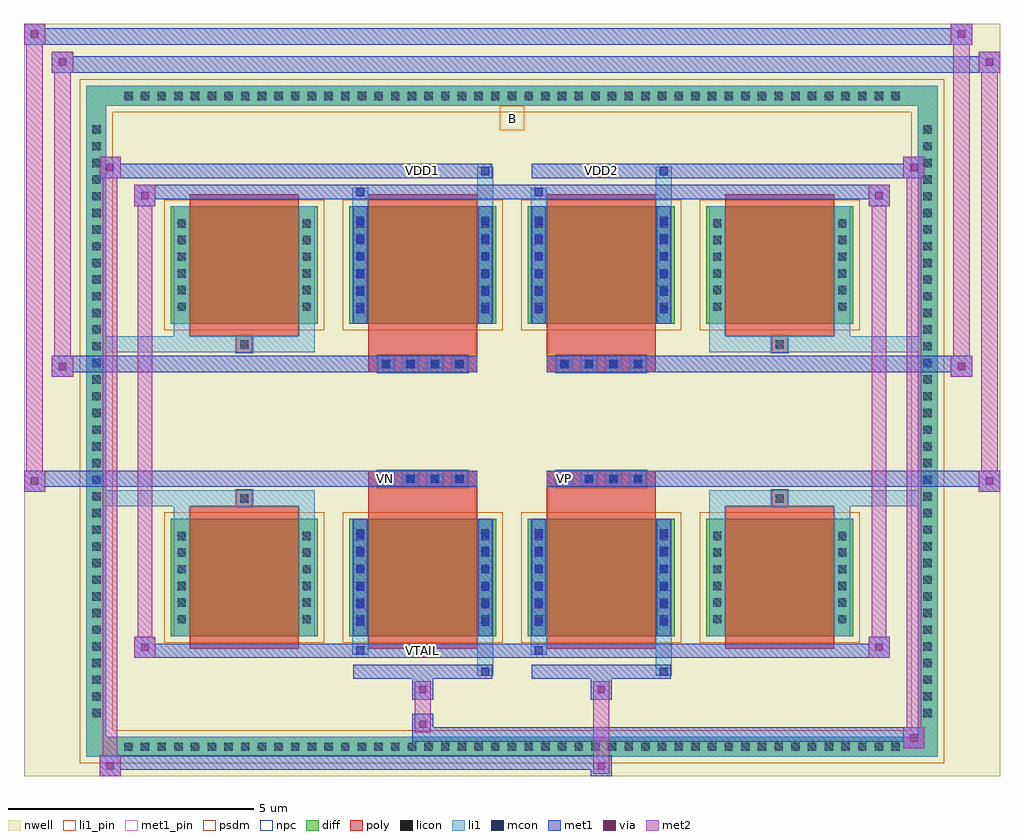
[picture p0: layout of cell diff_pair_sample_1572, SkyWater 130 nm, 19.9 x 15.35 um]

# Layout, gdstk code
import gdstk
lib = gdstk.Library(unit=1e-6, precision=5e-09)
def R(c, l, rs):  # rectangles x0, y0, x1, y1
    for r in rs: c.add(gdstk.rectangle(r[:2], r[2:], *l))
def A(c, l, x, y, w, h, nx, ny, dx, dy):  # array of equal rectangles
    R(c, l, [(x+i*dx, y+j*dy, x+i*dx+w, y+j*dy+h) for i in range(nx) for j in range(ny)])
def P(c, l, *ps):  # polygons
    for p in ps: c.add(gdstk.Polygon(p, *l))
nwell = (64, 20)
diff = (65, 20)
poly = (66, 20)
licon = (66, 44)
li1_pin = (67, 16)
li1 = (67, 20)
mcon = (67, 44)
met1_pin = (68, 16)
met1 = (68, 20)
via = (68, 44)
met2 = (69, 20)
psdm = (94, 20)
npc = (95, 20)

diff_pair_sample_1572 = lib.new_cell('diff_pair_sample_1572')
R(diff_pair_sample_1572, nwell, [(-9.95,-7.24,9.95,8.11), (-7.27,-5.43,-0.01,-0.805), (0.01,-5.43,7.27,-0.805), (-7.27,0.805,-0.01,5.43), (0.01,0.805,7.27,5.43)])
A(diff_pair_sample_1572, diff, -8.025, -6.84, 0.41, 0.41, 47, 2, 0.34, 13.27)
A(diff_pair_sample_1572, diff, -8.68, -6.155, 0.41, 0.41, 1, 36, 0, 0.34)
A(diff_pair_sample_1572, diff, 8.27, -6.155, 0.41, 0.41, 1, 36, 0, 0.34)
A(diff_pair_sample_1572, diff, -6.96, -4.385, 3, 2.4, 4, 2, 3.64, 6.37)
R(diff_pair_sample_1572, diff, [(-8.025,-6.84,8.025,-6.43), (-8.68,-6.155,-8.27,6.155), (8.27,-6.155,8.68,6.155), (-8.025,6.43,8.025,6.84)])
P(diff_pair_sample_1572, diff, [(8.68,6.84),(-8.68,6.84),(-8.68,-6.43),(-8.27,-6.43),(-8.27,6.43),(8.27,6.43),(8.27,-6.43),(-8.27,-6.43),(-8.68,-6.43),(-8.68,-6.84),(8.68,-6.84)])
A(diff_pair_sample_1572, poly, -6.57, -4.635, 2.22, 2.9, 4, 2, 3.64, 6.37)
A(diff_pair_sample_1572, poly, -2.735, -1.335, 0.33, 0.33, 4, 2, 0.5, 2.34)
A(diff_pair_sample_1572, poly, 0.905, -1.335, 0.33, 0.33, 4, 2, 0.5, 2.34)
R(diff_pair_sample_1572, poly, [(-5.625,-1.735,-5.295,-1.405), (-5.625,-1.735,-5.295,-1.405), (-2.93,-1.735,-0.71,-1.335), (0.71,-1.735,2.93,-1.335), (5.295,-1.735,5.625,-1.405), (5.295,-1.735,5.625,-1.405), (-2.93,-1.335,-0.71,-1.005), (0.71,-1.335,2.93,-1.005), (-2.93,1.005,-0.71,1.335), (0.71,1.005,2.93,1.335), (-2.93,1.335,-0.71,1.735), (0.71,1.335,2.93,1.735), (-5.625,1.405,-5.295,1.735), (-5.625,1.405,-5.295,1.735), (5.295,1.405,5.625,1.735), (5.295,1.405,5.625,1.735)])
A(diff_pair_sample_1572, licon, -7.905, -6.72, 0.17, 0.17, 47, 2, 0.34, 13.27)
A(diff_pair_sample_1572, licon, -8.56, -6.035, 0.17, 0.17, 1, 36, 0, 0.34)
A(diff_pair_sample_1572, licon, 8.39, -6.035, 0.17, 0.17, 1, 36, 0, 0.34)
A(diff_pair_sample_1572, licon, -6.82, -4.12, 0.17, 0.17, 1, 6, 0, 0.34)
A(diff_pair_sample_1572, licon, -4.27, -4.12, 0.17, 0.17, 1, 6, 0, 0.34)
A(diff_pair_sample_1572, licon, -3.18, -4.12, 0.17, 0.17, 1, 6, 0, 0.34)
A(diff_pair_sample_1572, licon, -0.63, -4.12, 0.17, 0.17, 1, 6, 0, 0.34)
A(diff_pair_sample_1572, licon, 0.46, -4.12, 0.17, 0.17, 1, 6, 0, 0.34)
A(diff_pair_sample_1572, licon, 3.01, -4.12, 0.17, 0.17, 1, 6, 0, 0.34)
A(diff_pair_sample_1572, licon, 4.1, -4.12, 0.17, 0.17, 1, 6, 0, 0.34)
A(diff_pair_sample_1572, licon, 6.65, -4.12, 0.17, 0.17, 1, 6, 0, 0.34)
A(diff_pair_sample_1572, licon, -2.655, -1.255, 0.17, 0.17, 4, 2, 0.5, 2.34)
A(diff_pair_sample_1572, licon, 0.985, -1.255, 0.17, 0.17, 4, 2, 0.5, 2.34)
A(diff_pair_sample_1572, licon, -6.82, 2.25, 0.17, 0.17, 1, 6, 0, 0.34)
A(diff_pair_sample_1572, licon, -4.27, 2.25, 0.17, 0.17, 1, 6, 0, 0.34)
A(diff_pair_sample_1572, licon, -3.18, 2.25, 0.17, 0.17, 1, 6, 0, 0.34)
A(diff_pair_sample_1572, licon, -0.63, 2.25, 0.17, 0.17, 1, 6, 0, 0.34)
A(diff_pair_sample_1572, licon, 0.46, 2.25, 0.17, 0.17, 1, 6, 0, 0.34)
A(diff_pair_sample_1572, licon, 3.01, 2.25, 0.17, 0.17, 1, 6, 0, 0.34)
A(diff_pair_sample_1572, licon, 4.1, 2.25, 0.17, 0.17, 1, 6, 0, 0.34)
A(diff_pair_sample_1572, licon, 6.65, 2.25, 0.17, 0.17, 1, 6, 0, 0.34)
R(diff_pair_sample_1572, licon, [(-5.545,-1.655,-5.375,-1.485), (5.375,-1.655,5.545,-1.485), (-5.545,1.485,-5.375,1.655), (5.375,1.485,5.545,1.655)])
R(diff_pair_sample_1572, li1_pin, [(-0.25,5.93,0.25,6.43)])
A(diff_pair_sample_1572, li1, -7.985, -6.8, 0.33, 0.33, 47, 2, 0.34, 13.27)
A(diff_pair_sample_1572, li1, -8.64, -6.115, 0.33, 0.33, 1, 36, 0, 0.34)
A(diff_pair_sample_1572, li1, 8.31, -6.115, 0.33, 0.33, 1, 36, 0, 0.34)
A(diff_pair_sample_1572, li1, -6.9, -4.2, 0.33, 0.33, 1, 6, 0, 0.34)
A(diff_pair_sample_1572, li1, -4.35, -4.2, 0.33, 0.33, 1, 6, 0, 0.34)
A(diff_pair_sample_1572, li1, -3.26, -4.2, 0.33, 0.33, 1, 6, 0, 0.34)
A(diff_pair_sample_1572, li1, -0.71, -4.2, 0.33, 0.33, 1, 6, 0, 0.34)
A(diff_pair_sample_1572, li1, 0.38, -4.2, 0.33, 0.33, 1, 6, 0, 0.34)
A(diff_pair_sample_1572, li1, 2.93, -4.2, 0.33, 0.33, 1, 6, 0, 0.34)
A(diff_pair_sample_1572, li1, 4.02, -4.2, 0.33, 0.33, 1, 6, 0, 0.34)
A(diff_pair_sample_1572, li1, 6.57, -4.2, 0.33, 0.33, 1, 6, 0, 0.34)
A(diff_pair_sample_1572, li1, -3.18, -4.17, 0.17, 0.17, 1, 6, 0, 0.36)
A(diff_pair_sample_1572, li1, -0.63, -4.17, 0.17, 0.17, 1, 6, 0, 0.36)
A(diff_pair_sample_1572, li1, 0.46, -4.17, 0.17, 0.17, 1, 6, 0, 0.36)
A(diff_pair_sample_1572, li1, 3.01, -4.17, 0.17, 0.17, 1, 6, 0, 0.36)
A(diff_pair_sample_1572, li1, -2.735, -1.335, 0.33, 0.33, 4, 2, 0.5, 2.34)
A(diff_pair_sample_1572, li1, 0.905, -1.335, 0.33, 0.33, 4, 2, 0.5, 2.34)
A(diff_pair_sample_1572, li1, -6.9, 2.17, 0.33, 0.33, 1, 6, 0, 0.34)
A(diff_pair_sample_1572, li1, -4.35, 2.17, 0.33, 0.33, 1, 6, 0, 0.34)
A(diff_pair_sample_1572, li1, -3.26, 2.17, 0.33, 0.33, 1, 6, 0, 0.34)
A(diff_pair_sample_1572, li1, -0.71, 2.17, 0.33, 0.33, 1, 6, 0, 0.34)
A(diff_pair_sample_1572, li1, 0.38, 2.17, 0.33, 0.33, 1, 6, 0, 0.34)
A(diff_pair_sample_1572, li1, 2.93, 2.17, 0.33, 0.33, 1, 6, 0, 0.34)
A(diff_pair_sample_1572, li1, 4.02, 2.17, 0.33, 0.33, 1, 6, 0, 0.34)
A(diff_pair_sample_1572, li1, 6.57, 2.17, 0.33, 0.33, 1, 6, 0, 0.34)
A(diff_pair_sample_1572, li1, -3.18, 2.2, 0.17, 0.17, 1, 6, 0, 0.36)
A(diff_pair_sample_1572, li1, -0.63, 2.2, 0.17, 0.17, 1, 6, 0, 0.36)
A(diff_pair_sample_1572, li1, 0.46, 2.2, 0.17, 0.17, 1, 6, 0, 0.36)
A(diff_pair_sample_1572, li1, 3.01, 2.2, 0.17, 0.17, 1, 6, 0, 0.36)
R(diff_pair_sample_1572, li1, [(-8.68,-6.84,-8.27,-6.43), (-8.68,-6.84,-8.27,-6.43), (-8.27,-6.84,8.27,-6.43), (8.27,-6.84,8.68,-6.43), (8.27,-6.84,8.68,-6.43), (-8.68,-6.43,-8.27,6.43), (8.27,-6.43,8.68,6.43), (-0.71,-5.19,-0.38,-4.385), (-0.63,-5.19,-0.46,-5.02), (2.93,-5.19,3.26,-4.385), (3.01,-5.19,3.18,-5.02), (-3.26,-4.76,-2.93,-4.385), (-3.18,-4.76,-3.01,-4.59), (0.38,-4.76,0.71,-4.385), (0.46,-4.76,0.63,-4.59), (-6.9,-4.385,-6.57,-1.985), (-4.35,-4.385,-4.02,-1.985), (-3.26,-4.385,-2.93,-1.985), (-0.71,-4.385,-0.38,-1.985), (0.38,-4.385,0.71,-1.985), (2.93,-4.385,3.26,-1.985), (4.02,-4.385,4.35,-1.985), (6.57,-4.385,6.9,-1.985), (-3.18,-4.17,-3.01,-2.2), (-0.63,-4.17,-0.46,-2.2), (0.46,-4.17,0.63,-2.2), (3.01,-4.17,3.18,-2.2), (-6.9,-1.985,-6.57,-1.405), (-4.35,-1.985,-4.02,-1.405), (4.02,-1.985,4.35,-1.405), (6.57,-1.985,6.9,-1.405), (-8.68,-1.735,-5.625,-1.405), (-6.9,-1.735,-5.625,-1.405), (-5.625,-1.735,-5.295,-1.405), (-5.295,-1.735,-4.02,-1.405), (4.02,-1.735,5.295,-1.405), (5.295,-1.735,5.625,-1.405), (5.295,-1.735,8.68,-1.405), (5.625,-1.735,6.9,-1.405), (-8.68,1.405,-5.625,1.735), (-6.9,1.405,-5.625,1.735), (-6.9,1.405,-6.57,1.985), (-5.625,1.405,-5.295,1.735), (-5.295,1.405,-4.02,1.735), (-4.35,1.405,-4.02,1.985), (4.02,1.405,5.295,1.735), (4.02,1.405,4.35,1.985), (5.295,1.405,5.625,1.735), (5.295,1.405,8.68,1.735), (5.625,1.405,6.9,1.735), (6.57,1.405,6.9,1.985), (-6.9,1.985,-6.57,4.385), (-4.35,1.985,-4.02,4.385), (-3.26,1.985,-2.93,4.385), (-0.71,1.985,-0.38,4.385), (0.38,1.985,0.71,4.385), (2.93,1.985,3.26,4.385), (4.02,1.985,4.35,4.385), (6.57,1.985,6.9,4.385), (-3.18,2.2,-3.01,4.17), (-0.63,2.2,-0.46,4.17), (0.46,2.2,0.63,4.17), (3.01,2.2,3.18,4.17), (-3.26,4.385,-2.93,4.76), (-0.71,4.385,-0.38,5.19), (0.38,4.385,0.71,4.76), (2.93,4.385,3.26,5.19), (-3.18,4.59,-3.01,4.76), (0.46,4.59,0.63,4.76), (-0.63,5.02,-0.46,5.19), (3.01,5.02,3.18,5.19), (-8.68,6.43,-8.27,6.84), (-8.68,6.43,-8.27,6.84), (-8.27,6.43,8.27,6.84), (8.27,6.43,8.68,6.84), (8.27,6.43,8.68,6.84)])
A(diff_pair_sample_1572, mcon, -3.18, -4.17, 0.17, 0.17, 1, 6, 0, 0.36)
A(diff_pair_sample_1572, mcon, -0.63, -4.17, 0.17, 0.17, 1, 6, 0, 0.36)
A(diff_pair_sample_1572, mcon, 0.46, -4.17, 0.17, 0.17, 1, 6, 0, 0.36)
A(diff_pair_sample_1572, mcon, 3.01, -4.17, 0.17, 0.17, 1, 6, 0, 0.36)
A(diff_pair_sample_1572, mcon, -2.655, -1.255, 0.17, 0.17, 4, 2, 0.5, 2.34)
A(diff_pair_sample_1572, mcon, 0.985, -1.255, 0.17, 0.17, 4, 2, 0.5, 2.34)
A(diff_pair_sample_1572, mcon, -3.18, 2.2, 0.17, 0.17, 1, 6, 0, 0.36)
A(diff_pair_sample_1572, mcon, -0.63, 2.2, 0.17, 0.17, 1, 6, 0, 0.36)
A(diff_pair_sample_1572, mcon, 0.46, 2.2, 0.17, 0.17, 1, 6, 0, 0.36)
A(diff_pair_sample_1572, mcon, 3.01, 2.2, 0.17, 0.17, 1, 6, 0, 0.36)
R(diff_pair_sample_1572, mcon, [(-0.63,-5.19,-0.46,-5.02), (3.01,-5.19,3.18,-5.02), (-3.18,-4.76,-3.01,-4.59), (0.46,-4.76,0.63,-4.59), (-3.18,4.59,-3.01,4.76), (0.46,4.59,0.63,4.76), (-0.63,5.02,-0.46,5.19), (3.01,5.02,3.18,5.19)])
R(diff_pair_sample_1572, met1_pin, [(-1.955,-4.8,-1.685,-4.53), (-2.705,-1.295,-2.435,-1.025), (0.935,-1.295,1.205,-1.025), (-1.955,4.98,-1.685,5.25), (1.685,4.98,1.955,5.25)])
A(diff_pair_sample_1572, met1, -3.24, -4.23, 0.29, 0.29, 1, 6, 0, 0.36)
A(diff_pair_sample_1572, met1, -0.69, -4.23, 0.29, 0.29, 1, 6, 0, 0.36)
A(diff_pair_sample_1572, met1, 0.4, -4.23, 0.29, 0.29, 1, 6, 0, 0.36)
A(diff_pair_sample_1572, met1, 2.95, -4.23, 0.29, 0.29, 1, 6, 0, 0.36)
A(diff_pair_sample_1572, met1, -2.715, -1.315, 0.29, 0.29, 4, 2, 0.5, 2.34)
A(diff_pair_sample_1572, met1, 0.925, -1.315, 0.29, 0.29, 4, 2, 0.5, 2.34)
A(diff_pair_sample_1572, met1, -3.24, 2.14, 0.29, 0.29, 1, 6, 0, 0.36)
A(diff_pair_sample_1572, met1, -0.69, 2.14, 0.29, 0.29, 1, 6, 0, 0.36)
A(diff_pair_sample_1572, met1, 0.4, 2.14, 0.29, 0.29, 1, 6, 0, 0.36)
A(diff_pair_sample_1572, met1, 2.95, 2.14, 0.29, 0.29, 1, 6, 0, 0.36)
R(diff_pair_sample_1572, met1, [(-8.41,-7.24,-7.98,-6.81), (1.605,-7.24,2.035,-6.81), (-8.41,-7.1,2.035,-6.81), (7.98,-6.67,8.41,-6.24), (-2.035,-6.53,8.41,-6.24), (-2.035,-6.39,-1.605,-5.96), (-2.035,-5.68,-1.605,-5.25), (1.605,-5.68,2.035,-5.25), (-3.24,-5.25,-0.4,-4.96), (-0.69,-5.25,-0.4,-4.96), (0.4,-5.25,3.24,-4.96), (2.95,-5.25,3.24,-4.96), (-7.7,-4.82,-7.27,-4.39), (-7.7,-4.82,-3.24,-4.53), (-3.24,-4.82,-2.95,-4.53), (-3.24,-4.82,-0.4,-4.53), (-0.4,-4.82,0.4,-4.53), (0.4,-4.82,0.69,-4.53), (0.4,-4.82,3.24,-4.53), (3.24,-4.82,7.7,-4.53), (7.27,-4.82,7.7,-4.39), (-3.24,-4.385,-2.95,-1.985), (-0.69,-4.385,-0.4,-1.985), (0.4,-4.385,0.69,-1.985), (2.95,-4.385,3.24,-1.985), (-9.95,-1.435,-9.52,-1.005), (9.52,-1.435,9.95,-1.005), (-9.95,-1.335,-0.71,-1.005), (-2.93,-1.335,-0.71,-1.005), (0.71,-1.335,2.93,-1.005), (0.71,-1.335,9.95,-1.005), (-9.38,0.905,-8.95,1.335), (8.95,0.905,9.38,1.335), (-9.38,1.005,-2.93,1.335), (-2.93,1.005,-0.71,1.335), (0.71,1.005,2.93,1.335), (2.93,1.005,9.38,1.335), (-3.24,1.985,-2.95,4.385), (-0.69,1.985,-0.4,4.385), (0.4,1.985,0.69,4.385), (2.95,1.985,3.24,4.385), (-7.7,4.39,-7.27,4.82), (7.27,4.39,7.7,4.82), (-7.7,4.53,-3.24,4.82), (-3.24,4.53,-2.95,4.82), (-3.24,4.53,-0.4,4.82), (-0.4,4.53,0.4,4.82), (0.4,4.53,0.69,4.82), (0.4,4.53,3.24,4.82), (3.24,4.53,7.7,4.82), (-8.41,4.96,-7.98,5.39), (-8.41,4.96,-3.24,5.25), (-3.24,4.96,-0.4,5.25), (-0.69,4.96,-0.4,5.25), (0.4,4.96,3.24,5.25), (2.95,4.96,3.24,5.25), (3.24,4.96,8.41,5.25), (7.98,4.96,8.41,5.39), (-9.38,7.11,-8.95,7.54), (-9.38,7.11,-7.27,7.44), (-7.27,7.11,7.27,7.44), (7.27,7.11,9.95,7.44), (9.52,7.11,9.95,7.54), (-9.95,7.68,-9.52,8.11), (-9.95,7.68,-7.27,8.01), (-7.27,7.68,7.27,8.01), (7.27,7.68,9.38,8.01), (8.95,7.68,9.38,8.11)])
R(diff_pair_sample_1572, via, [(-8.27,-7.1,-8.12,-6.95), (1.745,-7.1,1.895,-6.95), (8.12,-6.53,8.27,-6.38), (-1.895,-6.25,-1.745,-6.1), (-1.895,-5.54,-1.745,-5.39), (1.745,-5.54,1.895,-5.39), (-7.56,-4.68,-7.41,-4.53), (7.41,-4.68,7.56,-4.53), (-9.81,-1.295,-9.66,-1.145), (9.66,-1.295,9.81,-1.145), (-9.24,1.045,-9.09,1.195), (9.09,1.045,9.24,1.195), (-7.56,4.53,-7.41,4.68), (7.41,4.53,7.56,4.68), (-8.27,5.1,-8.12,5.25), (8.12,5.1,8.27,5.25), (-9.24,7.25,-9.09,7.4), (9.66,7.25,9.81,7.4), (-9.81,7.82,-9.66,7.97), (9.09,7.82,9.24,7.97)])
R(diff_pair_sample_1572, met2, [(-8.41,-7.24,-7.98,-6.81), (-8.34,-7.24,-8.05,5.39), (-8.05,-7.24,-7.98,-6.81), (-8.36,-7.19,-8.03,-6.86), (1.655,-7.19,1.985,-6.86), (1.655,-6.86,1.985,-5.63), (7.98,-6.67,8.41,-6.24), (8.05,-6.67,8.34,5.39), (8.34,-6.67,8.41,-6.24), (8.03,-6.62,8.36,-6.29), (-1.985,-6.34,-1.655,-6.01), (-1.985,-6.01,-1.655,-5.63), (-1.985,-5.63,-1.655,-5.3), (1.655,-5.63,1.985,-5.3), (-7.7,-4.82,-7.27,-4.39), (-7.63,-4.82,-7.34,4.82), (-7.34,-4.82,-7.27,-4.39), (7.27,-4.82,7.7,-4.39), (7.34,-4.82,7.63,4.82), (7.63,-4.82,7.7,-4.39), (-7.65,-4.77,-7.32,-4.44), (7.32,-4.77,7.65,-4.44), (-9.95,-1.435,-9.52,-1.005), (-9.9,-1.435,-9.57,8.11), (-9.57,-1.435,-9.52,-1.005), (9.52,-1.435,9.95,-1.005), (9.57,-1.435,9.9,7.54), (9.9,-1.435,9.95,-1.005), (-9.9,-1.385,-9.57,-1.055), (9.57,-1.385,9.9,-1.055), (-9.38,0.905,-8.95,1.335), (-9.33,0.905,-9,7.54), (-9,0.905,-8.95,1.335), (8.95,0.905,9.38,1.335), (9,0.905,9.33,8.11), (9.33,0.905,9.38,1.335), (-9.33,0.955,-9,1.285), (9,0.955,9.33,1.285), (-7.7,4.39,-7.27,4.82), (-7.34,4.39,-7.27,4.82), (7.27,4.39,7.7,4.82), (7.63,4.39,7.7,4.82), (-7.65,4.44,-7.32,4.77), (7.32,4.44,7.65,4.77), (-8.41,4.96,-7.98,5.39), (-8.05,4.96,-7.98,5.39), (7.98,4.96,8.41,5.39), (8.34,4.96,8.41,5.39), (-8.36,5.01,-8.03,5.34), (8.03,5.01,8.36,5.34), (-9.38,7.11,-8.95,7.54), (-9,7.11,-8.95,7.54), (9.52,7.11,9.95,7.54), (9.9,7.11,9.95,7.54), (-9.33,7.16,-9,7.49), (9.57,7.16,9.9,7.49), (-9.95,7.68,-9.52,8.11), (-9.57,7.68,-9.52,8.11), (8.95,7.68,9.38,8.11), (9.33,7.68,9.38,8.11), (-9.9,7.73,-9.57,8.06), (9,7.73,9.33,8.06)])
A(diff_pair_sample_1572, psdm, -7.09, -4.515, 3.26, 2.66, 4, 2, 3.64, 6.37)
P(diff_pair_sample_1572, psdm, [(8.81,6.97),(-8.81,6.97),(-8.81,-6.3),(-8.14,-6.3),(-8.14,6.3),(8.14,6.3),(8.14,-6.3),(-8.14,-6.3),(-8.81,-6.3),(-8.81,-6.97),(8.81,-6.97)])
A(diff_pair_sample_1572, npc, -2.755, -1.355, 0.37, 0.37, 4, 2, 0.5, 2.34)
A(diff_pair_sample_1572, npc, 0.885, -1.355, 0.37, 0.37, 4, 2, 0.5, 2.34)
R(diff_pair_sample_1572, npc, [(-5.645,-1.755,-5.275,-1.385), (5.275,-1.755,5.645,-1.385), (-2.755,-1.355,-1.885,-0.985), (-2.755,-1.355,-1.885,-0.985), (-2.255,-1.355,-1.385,-0.985), (-2.255,-1.355,-1.385,-0.985), (-1.755,-1.355,-0.885,-0.985), (-1.755,-1.355,-0.885,-0.985), (0.885,-1.355,1.755,-0.985), (0.885,-1.355,1.755,-0.985), (1.385,-1.355,2.255,-0.985), (1.385,-1.355,2.255,-0.985), (1.885,-1.355,2.755,-0.985), (1.885,-1.355,2.755,-0.985), (-2.755,0.985,-1.885,1.355), (-2.755,0.985,-1.885,1.355), (-2.255,0.985,-1.385,1.355), (-2.255,0.985,-1.385,1.355), (-1.755,0.985,-0.885,1.355), (-1.755,0.985,-0.885,1.355), (0.885,0.985,1.755,1.355), (0.885,0.985,1.755,1.355), (1.385,0.985,2.255,1.355), (1.385,0.985,2.255,1.355), (1.885,0.985,2.755,1.355), (1.885,0.985,2.755,1.355), (-5.645,1.385,-5.275,1.755), (5.275,1.385,5.645,1.755)])
diff_pair_sample_1572.add(gdstk.Label('VTAIL', (-1.82,-4.665), layer=68, texttype=5))
diff_pair_sample_1572.add(gdstk.Label('VN', (-2.57,-1.16), layer=68, texttype=5))
diff_pair_sample_1572.add(gdstk.Label('VP', (1.07,-1.16), layer=68, texttype=5))
diff_pair_sample_1572.add(gdstk.Label('B', (0,6.18), layer=67, texttype=5))
diff_pair_sample_1572.add(gdstk.Label('VDD2', (1.82,5.115), layer=68, texttype=5))
diff_pair_sample_1572.add(gdstk.Label('VDD1', (-1.82,5.115), layer=68, texttype=5))

lib.write_gds('diff_pair_sample_1572.gds')
